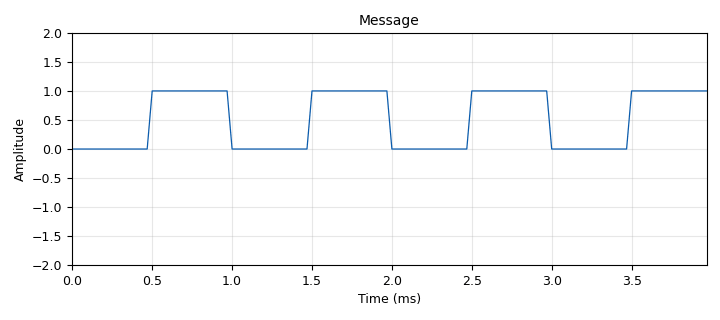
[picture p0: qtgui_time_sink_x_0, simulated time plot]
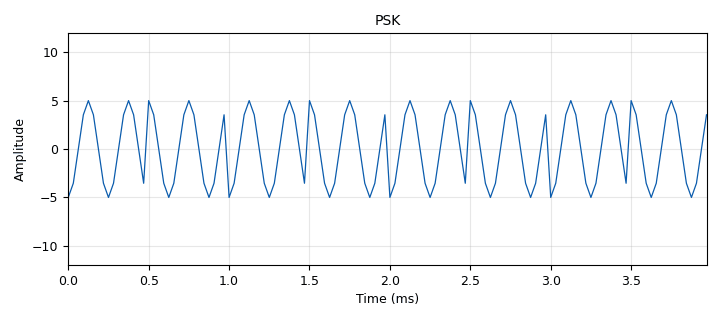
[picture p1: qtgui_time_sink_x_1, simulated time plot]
<?xml version='1.0' encoding='utf-8'?>
<?grc format='1' created='3.7.13'?>
<flow_graph>
<block>
<key>options</key>
<param><key>id</key><value>top_block</value></param>
<param><key>generate_options</key><value>qt_gui</value></param>
</block>
<block>
<key>variable</key>
<param><key>id</key><value>freq</value></param>
<param><key>value</key><value>1000</value></param>
</block>
<block>
<key>variable</key>
<param><key>id</key><value>numpoints</value></param>
<param><key>value</key><value>128</value></param>
</block>
<block>
<key>variable</key>
<param><key>id</key><value>samp_rate</value></param>
<param><key>value</key><value>32000</value></param>
</block>
<block>
<key>analog_sig_source_x</key>
<param><key>id</key><value>analog_sig_source_x_0</value></param>
<param><key>amp</key><value>5</value></param>
<param><key>freq</key><value>4000</value></param>
<param><key>offset</key><value>0</value></param>
<param><key>type</key><value>float</value></param>
<param><key>samp_rate</key><value>samp_rate</value></param>
<param><key>waveform</key><value>analog.GR_COS_WAVE</value></param>
</block>
<block>
<key>analog_sig_source_x</key>
<param><key>id</key><value>analog_sig_source_x_1</value></param>
<param><key>amp</key><value>1</value></param>
<param><key>freq</key><value>freq</value></param>
<param><key>offset</key><value>0</value></param>
<param><key>type</key><value>float</value></param>
<param><key>samp_rate</key><value>samp_rate</value></param>
<param><key>waveform</key><value>analog.GR_SQR_WAVE</value></param>
</block>
<block>
<key>blocks_add_xx</key>
<param><key>id</key><value>blocks_add_xx_0</value></param>
<param><key>type</key><value>float</value></param>
</block>
<block>
<key>blocks_delay</key>
<param><key>id</key><value>blocks_delay_0</value></param>
<param><key>delay</key><value>samp_rate/(2*freq)</value></param>
<param><key>type</key><value>float</value></param>
</block>
<block>
<key>blocks_multiply_const_vxx</key>
<param><key>id</key><value>blocks_multiply_const_vxx_0</value></param>
<param><key>const</key><value>-1</value></param>
<param><key>type</key><value>float</value></param>
</block>
<block>
<key>blocks_multiply_xx</key>
<param><key>id</key><value>blocks_multiply_xx_0</value></param>
<param><key>type</key><value>float</value></param>
</block>
<block>
<key>blocks_multiply_xx</key>
<param><key>id</key><value>blocks_multiply_xx_0_0</value></param>
<param><key>type</key><value>float</value></param>
</block>
<block>
<key>blocks_throttle</key>
<param><key>id</key><value>blocks_throttle_0</value></param>
<param><key>samples_per_second</key><value>samp_rate</value></param>
<param><key>type</key><value>float</value></param>
</block>
<block>
<key>qtgui_time_sink_x</key>
<param><key>id</key><value>qtgui_time_sink_x_0</value></param>
<param><key>gui_hint</key><value>0,0</value></param>
<param><key>color1</key><value>"blue"</value></param>
<param><key>label1</key><value></value></param>
<param><key>name</key><value>"Message"</value></param>
<param><key>size</key><value>numpoints</value></param>
<param><key>srate</key><value>samp_rate</value></param>
<param><key>type</key><value>float</value></param>
<param><key>ymax</key><value>2</value></param>
<param><key>ymin</key><value>-2</value></param>
</block>
<block>
<key>qtgui_time_sink_x</key>
<param><key>id</key><value>qtgui_time_sink_x_1</value></param>
<param><key>gui_hint</key><value>0,1</value></param>
<param><key>color1</key><value>"blue"</value></param>
<param><key>label1</key><value></value></param>
<param><key>name</key><value>"PSK"</value></param>
<param><key>size</key><value>numpoints</value></param>
<param><key>srate</key><value>samp_rate</value></param>
<param><key>type</key><value>float</value></param>
<param><key>ymax</key><value>12</value></param>
<param><key>ymin</key><value>-12</value></param>
</block>
<connection><source_block_id>analog_sig_source_x_0</source_block_id><sink_block_id>blocks_multiply_const_vxx_0</sink_block_id><source_key>0</source_key><sink_key>0</sink_key></connection>
<connection><source_block_id>analog_sig_source_x_0</source_block_id><sink_block_id>blocks_multiply_xx_0_0</sink_block_id><source_key>0</source_key><sink_key>1</sink_key></connection>
<connection><source_block_id>analog_sig_source_x_1</source_block_id><sink_block_id>blocks_delay_0</sink_block_id><source_key>0</source_key><sink_key>0</sink_key></connection>
<connection><source_block_id>analog_sig_source_x_1</source_block_id><sink_block_id>blocks_multiply_xx_0_0</sink_block_id><source_key>0</source_key><sink_key>0</sink_key></connection>
<connection><source_block_id>analog_sig_source_x_1</source_block_id><sink_block_id>qtgui_time_sink_x_0</sink_block_id><source_key>0</source_key><sink_key>0</sink_key></connection>
<connection><source_block_id>blocks_add_xx_0</source_block_id><sink_block_id>blocks_throttle_0</sink_block_id><source_key>0</source_key><sink_key>0</sink_key></connection>
<connection><source_block_id>blocks_delay_0</source_block_id><sink_block_id>blocks_multiply_xx_0</sink_block_id><source_key>0</source_key><sink_key>0</sink_key></connection>
<connection><source_block_id>blocks_multiply_const_vxx_0</source_block_id><sink_block_id>blocks_multiply_xx_0</sink_block_id><source_key>0</source_key><sink_key>1</sink_key></connection>
<connection><source_block_id>blocks_multiply_xx_0</source_block_id><sink_block_id>blocks_add_xx_0</sink_block_id><source_key>0</source_key><sink_key>1</sink_key></connection>
<connection><source_block_id>blocks_multiply_xx_0_0</source_block_id><sink_block_id>blocks_add_xx_0</sink_block_id><source_key>0</source_key><sink_key>0</sink_key></connection>
<connection><source_block_id>blocks_throttle_0</source_block_id><sink_block_id>qtgui_time_sink_x_1</sink_block_id><source_key>0</source_key><sink_key>0</sink_key></connection>
</flow_graph>
